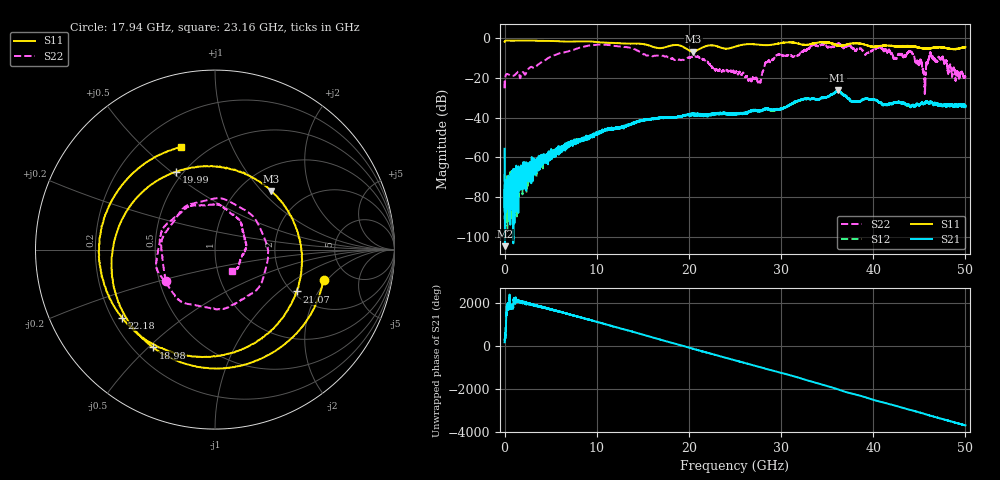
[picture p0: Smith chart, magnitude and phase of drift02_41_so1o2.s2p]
!Created with skrf (http://scikit-rf.org).
# Hz S RI R 50.0
!freq ReS11 ImS11 ReS21 ImS21 ReS12 ImS12 ReS22 ImS22
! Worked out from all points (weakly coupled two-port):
!   10001 points, 300 kHz to 50 GHz, reference 50 ohm
!   highest |S21| = -26.23 dB at 36.14 GHz (marker M1); lowest = -104.5 dB at 35.3 MHz (marker M2)
!   lowest |S11| = -6.9 dB at 20.5 GHz (marker M3), VSWR 2.65, Z = 69 + j56.3 ohm
!   |S11| at or under -10 dB: nowhere
!   |S22| runs from -28.1 to -2.6 dB; largest |S21 - S12| = 0.0051
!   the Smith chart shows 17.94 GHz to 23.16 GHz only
!   S11 on the Smith chart (normalised r, x): 17.94 GHz: 3.29, -1.82; 18.98 GHz: 0.28, -0.52; 19.99 GHz: 0.46, +0.52; 21.07 GHz: 2.10, -1.32; 22.18 GHz: 0.24, -0.31; 23.16 GHz: 0.37, +0.65
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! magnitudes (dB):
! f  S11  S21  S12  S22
! 300 kHz  -2.0  -55.7  -68.4  -21.7
! 35.3 MHz  -1.8  -104.5  -73.0  -22.2
! 320.3 MHz  -1.4  -72.3  -70.3  -18.1
! 8.335 GHz  -1.7  -51.5  -50.9  -4.7
! 16.67 GHz  -5.2  -40.3  -40.4  -9.0
! 17.94 GHz  -4.0  -40.1  -40.1  -9.8
! 18.98 GHz  -3.8  -39.4  -39.5  -10.9
! 19.99 GHz  -6.3  -38.5  -38.5  -9.8
! 20.5 GHz  -6.9  -38.6  -38.5  -9.7
! 21.07 GHz  -5.8  -38.7  -38.5  -9.7
! 22.18 GHz  -3.8  -38.9  -38.6  -13.1
! 23.16 GHz  -4.4  -38.3  -37.9  -16.4
! 25 GHz  -4.5  -38.6  -38.0  -17.5
! 27.62 GHz  -3.5  -36.8  -36.5  -21.6
! 29.54 GHz  -3.0  -36.1  -36.0  -8.8
! 33.34 GHz  -3.0  -30.6  -30.6  -3.8
! 36.14 GHz  -3.9  -26.2  -27.1  -3.0
! 41.67 GHz  -4.0  -33.6  -33.4  -6.3
! 44.13 GHz  -4.2  -34.6  -34.4  -7.1
! 45.51 GHz  -5.3  -33.1  -33.1  -17.6
! 46.27 GHz  -5.3  -32.4  -32.2  -9.1
! 50 GHz  -4.7  -34.4  -34.1  -19.6
